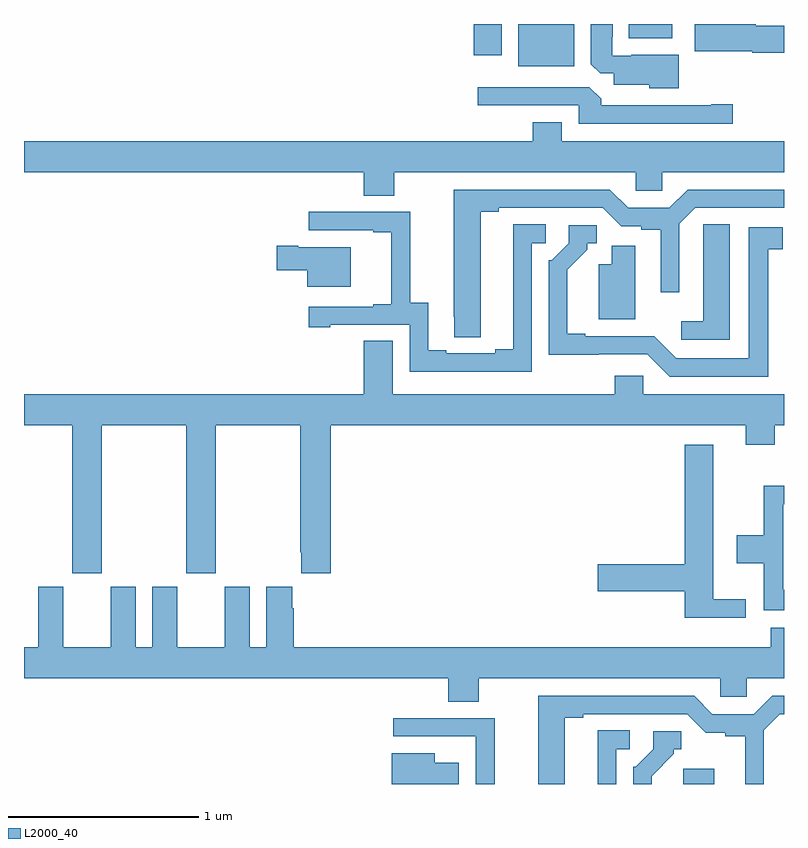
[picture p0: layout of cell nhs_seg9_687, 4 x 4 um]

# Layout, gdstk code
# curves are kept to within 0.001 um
import gdstk
lib = gdstk.Library(unit=1e-6, precision=1e-09)
def R(c, l, rs):  # rectangles x0, y0, x1, y1
    for r in rs: c.add(gdstk.rectangle(r[:2], r[2:], *l))
def P(c, l, *ps):  # polygons
    for p in ps: c.add(gdstk.Polygon(p, *l))
L2000_40 = (2000, 40)

nhs_seg9_687 = lib.new_cell('nhs_seg9_687')
R(nhs_seg9_687, L2000_40, [(148.469,1226.5,148.633,1226.581), (147.602,1230.278,147.895,1230.5), (147.368,1230.336,147.514,1230.5), (148.184,1230.425,148.411,1230.5)])
P(nhs_seg9_687, L2000_40, [(148.447,1230.337),(148.195,1230.337),(148.195,1230.333),(148.095,1230.333),(148.095,1230.433),(148.099,1230.433),(148.099,1230.5),(147.983,1230.5),(147.983,1230.289),(148.032,1230.24),(148.103,1230.24),(148.103,1230.179),(148.29,1230.179),(148.29,1230.161),(148.447,1230.161)],
  [(149,1230.491),(148.85,1230.491),(148.85,1230.5),(148.53,1230.5),(148.53,1230.356),(148.833,1230.356),(148.833,1230.349),(149,1230.349)],
  [(148.729,1230.077),(148.616,1230.077),(148.616,1230.072),(148.037,1230.072),(148.037,1230.106),(147.975,1230.168),(147.387,1230.168),(147.387,1230.072),(147.921,1230.072),(147.921,1229.976),(148.729,1229.976)],
  [(146.949,1229.72),(148.221,1229.72),(148.221,1229.622),(148.359,1229.622),(148.359,1229.72),(149,1229.72),(149,1229.884),(147.829,1229.884),(147.829,1229.983),(147.677,1229.983),(147.677,1229.884),(145,1229.884),(145,1229.72),(146.789,1229.72),(146.789,1229.596),(146.949,1229.596)],
  [(147.403,1229.512),(147.499,1229.512),(147.499,1229.532),(148.047,1229.532),(148.143,1229.436),(148.248,1229.436),(148.248,1229.416),(148.352,1229.416),(148.352,1229.088),(148.449,1229.088),(148.449,1229.448),(148.533,1229.532),(149,1229.532),(149,1229.628),(148.493,1229.628),(148.397,1229.532),(148.179,1229.532),(148.083,1229.628),(147.263,1229.628),(147.264,1228.852),(147.403,1228.852)],
  [(147.672,1229.346),(147.745,1229.346),(147.745,1229.447),(147.575,1229.447),(147.575,1228.787),(147.479,1228.787),(147.479,1228.767),(147.223,1228.767),(147.223,1228.782),(147.127,1228.782),(147.127,1229.033),(147.033,1229.033),(147.033,1229.511),(146.499,1229.511),(146.499,1229.415),(146.837,1229.415),(146.837,1229.403),(146.933,1229.403),(146.933,1229.026),(146.837,1229.026),(146.837,1229.013),(146.499,1229.013),(146.499,1228.905),(146.611,1228.905),(146.611,1228.917),(147.03,1228.917),(147.03,1228.671),(147.672,1228.671)],
  [(148.714,1229.447),(148.575,1229.447),(148.575,1229.339),(148.574,1229.339),(148.574,1228.936),(148.458,1228.936),(148.458,1228.839),(148.714,1228.839)],
  [(148.918,1229.314),(148.993,1229.314),(148.993,1229.43),(148.814,1229.43),(148.814,1228.74),(148.434,1228.74),(148.317,1228.857),(147.955,1228.857),(147.955,1228.87),(147.859,1228.87),(147.859,1229.206),(147.964,1229.311),(147.964,1229.346),(148.014,1229.346),(148.014,1229.442),(147.867,1229.442),(147.867,1229.346),(147.777,1229.256),(147.762,1229.256),(147.762,1228.76),(148.281,1228.761),(148.398,1228.644),(148.918,1228.644)],
  [(148.216,1229.334),(148.094,1229.334),(148.094,1229.236),(148.025,1229.236),(148.025,1228.946),(148.216,1228.946)],
  [(146.719,1229.326),(146.443,1229.326),(146.443,1229.334),(146.331,1229.334),(146.331,1229.204),(146.492,1229.204),(146.492,1229.117),(146.719,1229.117)],
  [(145,1228.388),(145.255,1228.388),(145.255,1227.609),(145.41,1227.609),(145.41,1228.388),(145.855,1228.388),(145.855,1227.609),(146.01,1227.609),(146.01,1228.388),(146.455,1228.388),(146.455,1227.721),(146.459,1227.721),(146.459,1227.609),(146.615,1227.609),(146.615,1228.388),(148.799,1228.388),(148.799,1228.286),(148.952,1228.286),(148.952,1228.388),(149,1228.388),(149,1228.552),(148.26,1228.552),(148.26,1228.65),(148.109,1228.65),(148.109,1228.552),(146.941,1228.552),(146.941,1228.832),(146.789,1228.832),(146.789,1228.552),(145,1228.552)],
  [(148.798,1227.473),(148.627,1227.473),(148.627,1228.285),(148.478,1228.285),(148.478,1227.656),(148.02,1227.656),(148.02,1227.514),(148.478,1227.514),(148.478,1227.374),(148.798,1227.374)],
  [(149,1227.523),(148.995,1227.523),(148.995,1227.972),(149,1227.972),(149,1228.07),(148.894,1228.07),(148.894,1227.81),(148.752,1227.81),(148.752,1227.662),(148.894,1227.662),(148.894,1227.414),(149,1227.414)],
  [(147.393,1227.056),(148.665,1227.056),(148.665,1226.958),(148.803,1226.958),(148.803,1227.056),(149,1227.056),(149,1227.322),(148.931,1227.322),(148.931,1227.22),(146.42,1227.22),(146.42,1227.425),(146.413,1227.425),(146.413,1227.538),(146.276,1227.538),(146.276,1227.22),(146.188,1227.22),(146.188,1227.538),(146.057,1227.538),(146.057,1227.22),(145.807,1227.22),(145.807,1227.538),(145.676,1227.538),(145.676,1227.22),(145.588,1227.22),(145.588,1227.538),(145.457,1227.538),(145.457,1227.22),(145.207,1227.22),(145.207,1227.538),(145.076,1227.538),(145.076,1227.22),(145,1227.22),(145,1227.056),(147.233,1227.056),(147.233,1226.932),(147.393,1226.932)],
  [(147.847,1226.848),(147.943,1226.848),(147.943,1226.868),(148.491,1226.868),(148.589,1226.771),(148.692,1226.771),(148.692,1226.752),(148.796,1226.752),(148.796,1226.5),(148.893,1226.5),(148.893,1226.784),(148.977,1226.868),(149,1226.868),(149,1226.964),(148.937,1226.964),(148.841,1226.868),(148.623,1226.868),(148.527,1226.964),(147.707,1226.964),(147.707,1226.5),(147.847,1226.5)],
  [(147.477,1226.847),(146.943,1226.847),(146.943,1226.751),(147.377,1226.751),(147.377,1226.75),(147.378,1226.75),(147.378,1226.5),(147.477,1226.5)],
  [(148.116,1226.682),(148.189,1226.682),(148.189,1226.783),(148.019,1226.783),(148.019,1226.5),(148.116,1226.5)],
  [(148.303,1226.542),(148.42,1226.659),(148.42,1226.682),(148.459,1226.682),(148.459,1226.778),(148.311,1226.778),(148.311,1226.682),(148.221,1226.592),(148.206,1226.592),(148.206,1226.5),(148.303,1226.5)],
  [(147.289,1226.611),(147.163,1226.611),(147.163,1226.662),(146.936,1226.662),(146.936,1226.5),(147.289,1226.5)])

lib.write_gds('nhs_seg9_687.gds')
